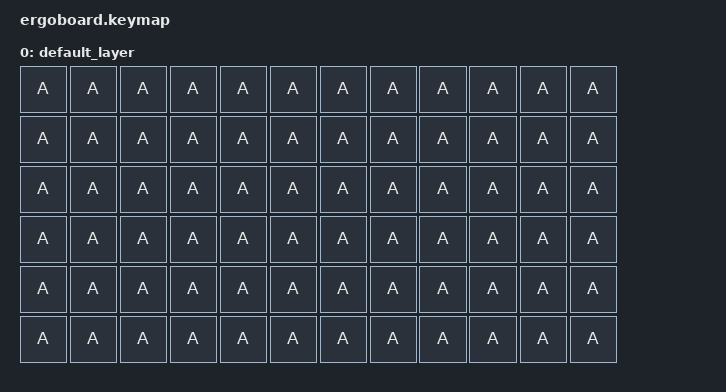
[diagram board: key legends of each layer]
#include <behaviours.dtsi>
#include <dt-bindings/zmk/keys.h>

/ {
	keymap {
	  compatible = "zmk,keymap";
	  default_layer {
		bindings = <
		  &kp A &kp A &kp A &kp A &kp A &kp A	  &kp A &kp A &kp A &kp A &kp A &kp A
		  &kp A &kp A &kp A &kp A &kp A &kp A	  &kp A &kp A &kp A &kp A &kp A &kp A
		  &kp A &kp A &kp A &kp A &kp A &kp A	  &kp A &kp A &kp A &kp A &kp A &kp A
		  &kp A &kp A &kp A &kp A &kp A &kp A	  &kp A &kp A &kp A &kp A &kp A &kp A
		  &kp A &kp A &kp A &kp A &kp A &kp A	  &kp A &kp A &kp A &kp A &kp A &kp A
		  &kp A &kp A &kp A &kp A &kp A &kp A	  &kp A &kp A &kp A &kp A &kp A &kp A
		>;
	  };
	};
};
